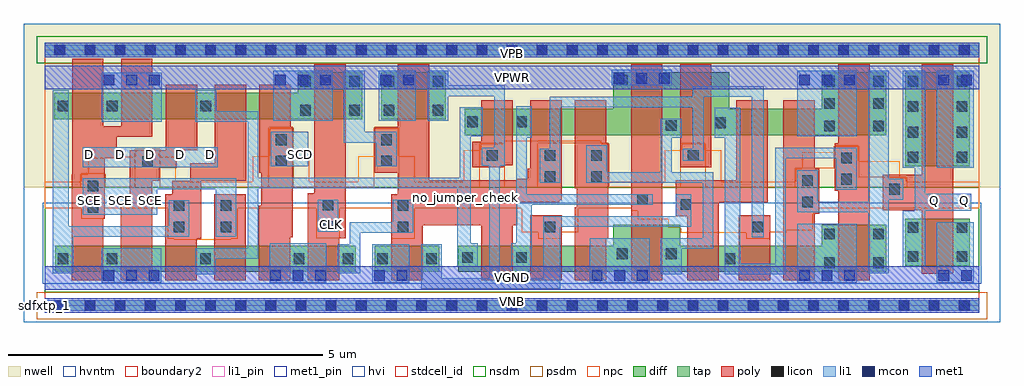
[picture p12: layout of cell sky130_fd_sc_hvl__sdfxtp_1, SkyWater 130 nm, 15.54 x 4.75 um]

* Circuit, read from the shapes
.subckt sky130_fd_sc_hvl__sdfxtp_1 CLK D Q SCD SCE VGND VNB VPB VPWR
XM1 VGND SCE n1 VNB sky130_fd_pr__nfet_g5v0d10v5 w=0.42 l=0.5
XM2 n2 D VGND VNB sky130_fd_pr__nfet_g5v0d10v5 w=0.42 l=0.5
XM3 n3 n1 n2 VNB sky130_fd_pr__nfet_g5v0d10v5 w=0.42 l=0.5
XM4 n4 SCE n3 VNB sky130_fd_pr__nfet_g5v0d10v5 w=0.42 l=0.5
XM5 VGND SCD n4 VNB sky130_fd_pr__nfet_g5v0d10v5 w=0.42 l=0.5
XM6 n5 CLK VGND VNB sky130_fd_pr__nfet_g5v0d10v5 w=0.42 l=0.5
XM7 n6 n5 VGND VNB sky130_fd_pr__nfet_g5v0d10v5 w=0.42 l=0.5
XM8 n7 n5 n3 VNB sky130_fd_pr__nfet_g5v0d10v5 w=0.42 l=0.5
XM9 n8 n6 n7 VNB sky130_fd_pr__nfet_g5v0d10v5 w=0.42 l=0.5
XM10 VGND n9 n8 VNB sky130_fd_pr__nfet_g5v0d10v5 w=0.42 l=0.5
XM11 n9 n7 VGND VNB sky130_fd_pr__nfet_g5v0d10v5 w=0.75 l=0.5
XM12 n10 n6 n9 VNB sky130_fd_pr__nfet_g5v0d10v5 w=0.42 l=0.5
XM13 n11 n5 n10 VNB sky130_fd_pr__nfet_g5v0d10v5 w=0.42 l=0.5
XM14 VGND n12 n11 VNB sky130_fd_pr__nfet_g5v0d10v5 w=0.42 l=0.5
XM15 n12 n10 VGND VNB sky130_fd_pr__nfet_g5v0d10v5 w=0.75 l=0.5
XM16 VGND n12 Q VNB sky130_fd_pr__nfet_g5v0d10v5 w=0.75 l=0.5
XM17 VPWR SCE n1 VPB sky130_fd_pr__pfet_g5v0d10v5 w=0.42 l=0.5
XM18 n13 SCE VPWR VPB sky130_fd_pr__pfet_g5v0d10v5 w=0.42 l=0.5
XM19 n3 D n13 VPB sky130_fd_pr__pfet_g5v0d10v5 w=0.42 l=0.5
XM20 n14 n1 n3 VPB sky130_fd_pr__pfet_g5v0d10v5 w=0.42 l=0.5
XM21 VPWR SCD n14 VPB sky130_fd_pr__pfet_g5v0d10v5 w=0.42 l=0.5
XM22 n5 CLK VPWR VPB sky130_fd_pr__pfet_g5v0d10v5 w=0.75 l=0.5
XM23 n6 n5 VPWR VPB sky130_fd_pr__pfet_g5v0d10v5 w=0.75 l=0.5
XM24 n7 n6 n3 VPB sky130_fd_pr__pfet_g5v0d10v5 w=0.42 l=0.5
XM25 n15 n5 n7 VPB sky130_fd_pr__pfet_g5v0d10v5 w=0.42 l=0.5
XM26 VPWR n9 n15 VPB sky130_fd_pr__pfet_g5v0d10v5 w=0.42 l=0.5
XM27 n9 n7 VPWR VPB sky130_fd_pr__pfet_g5v0d10v5 w=1 l=0.5
XM28 n10 n5 n9 VPB sky130_fd_pr__pfet_g5v0d10v5 w=1 l=0.5
XM29 n16 n6 n10 VPB sky130_fd_pr__pfet_g5v0d10v5 w=0.42 l=0.5
XM30 VPWR n12 n16 VPB sky130_fd_pr__pfet_g5v0d10v5 w=0.42 l=0.5
XM31 n12 n10 VPWR VPB sky130_fd_pr__pfet_g5v0d10v5 w=1 l=0.5
XM32 VPWR n12 Q VPB sky130_fd_pr__pfet_g5v0d10v5 w=1.5 l=0.5
.ends

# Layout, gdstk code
import gdstk
lib = gdstk.Library(unit=1e-6, precision=1e-09)
def R(c, l, rs):  # rectangles x0, y0, x1, y1
    for r in rs: c.add(gdstk.rectangle(r[:2], r[2:], *l))
def A(c, l, x, y, w, h, nx, ny, dx, dy):  # array of equal rectangles
    R(c, l, [(x+i*dx, y+j*dy, x+i*dx+w, y+j*dy+h) for i in range(nx) for j in range(ny)])
def P(c, l, *ps):  # polygons
    for p in ps: c.add(gdstk.Polygon(p, *l))
nwell = (64, 20)
diff = (65, 20)
tap = (65, 44)
poly = (66, 20)
licon = (66, 44)
li1_pin = (67, 16)
li1 = (67, 20)
mcon = (67, 44)
met1_pin = (68, 16)
met1 = (68, 20)
hvi = (75, 20)
stdcell_id = (81, 4)
nsdm = (93, 44)
psdm = (94, 20)
npc = (95, 20)
hvntm = (125, 20)
boundary2 = (236, 0)

sky130_fd_sc_hvl__sdfxtp = lib.new_cell('sky130_fd_sc_hvl__sdfxtp_1')
R(sky130_fd_sc_hvl__sdfxtp, nwell, [(-0.33,1.885,15.21,4.485)])
R(sky130_fd_sc_hvl__sdfxtp, diff, [(0.165,0.535,4.955,0.955), (5.255,0.535,6.285,0.955), (13.7,0.635,14.73,1.385), (13.7,2.215,14.73,3.715), (5.355,2.965,6.385,3.715)])
P(sky130_fd_sc_hvl__sdfxtp, diff, [(5.055,3.715),(4.025,3.715),(4.025,3.385),(0.15,3.385),(0.15,2.965),(5.055,2.965)],
  [(13.4,3.715),(12.37,3.715),(12.37,3.135),(10.9,3.135),(10.9,3.715),(9.05,3.715),(9.05,3.135),(6.685,3.135),(6.685,2.715),(13.4,2.715)],
  [(13.4,1.285),(12.37,1.285),(12.37,0.955),(10.12,0.955),(10.12,1.285),(9.05,1.285),(9.05,0.955),(6.585,0.955),(6.585,0.535),(13.4,0.535)])
R(sky130_fd_sc_hvl__sdfxtp, tap, [(0,-0.085,14.88,0.085), (0,3.985,14.88,4.155)])
R(sky130_fd_sc_hvl__sdfxtp, poly, [(2.7,0.405,3.2,1.775), (7.73,0.405,8.23,1.435), (9.335,0.405,9.835,3.845), (11.05,0.405,11.55,1.435), (10.115,2.205,10.615,3.845)])
P(sky130_fd_sc_hvl__sdfxtp, poly, [(1.715,3.93),(1.215,3.93),(1.215,2.855),(0.935,2.855),(0.935,3.93),(0.435,3.93),(0.435,2.09),(0.43,2.09),(0.43,0.405),(0.93,0.405),(0.93,1.38),(0.955,1.38),(0.955,2.355),(1.145,2.355),(1.145,2.685),(1.715,2.685)],
  [(2.425,3.515),(1.925,3.515),(1.925,2.475),(1.355,2.475),(1.355,1.585),(1.21,1.585),(1.21,0.405),(1.71,0.405),(1.71,1.985),(1.82,1.985),(1.82,2.195),(2.105,2.195),(2.105,2.475),(2.425,2.475)],
  [(3.205,3.515),(2.705,3.515),(2.705,2.265),(2.315,2.265),(2.315,1.985),(2.03,1.985),(2.03,1.775),(1.92,1.775),(1.92,0.405),(2.42,0.405),(2.42,1.065),(2.49,1.065),(2.49,1.985),(3.205,1.985)],
  [(3.95,2.835),(3.915,2.835),(3.915,3.515),(3.415,3.515),(3.415,2.115),(3.45,2.115),(3.45,1.585),(3.41,1.585),(3.41,0.405),(3.91,0.405),(3.91,1.085),(3.95,1.085)],
  [(4.79,3.845),(4.29,3.845),(4.29,1.785),(4.19,1.785),(4.19,0.405),(4.69,0.405),(4.69,1.075),(4.79,1.075)],
  [(7.45,3.265),(6.95,3.265),(6.95,2.605),(6.81,2.605),(6.81,2.205),(7.31,2.205),(7.31,2.23),(7.45,2.23)],
  [(8.23,3.265),(7.73,3.265),(7.73,2.175),(7.69,2.175),(7.69,2.02),(7.52,2.02),(7.52,1.995),(6.12,1.995),(6.12,3.845),(5.62,3.845),(5.62,2.835),(5.255,2.835),(5.255,2.115),(5.62,2.115),(5.62,1.775),(5.52,1.775),(5.52,0.405),(6.02,0.405),(6.02,1.275),(6.95,1.275),(6.95,0.405),(7.45,0.405),(7.45,1.275),(7.52,1.275),(7.52,1.645),(8.19,1.645),(8.19,1.675),(8.23,1.675)],
  [(8.97,2.585),(8.94,2.585),(8.94,3.265),(8.44,3.265),(8.44,1.865),(8.47,1.865),(8.47,1.565),(8.44,1.565),(8.44,0.405),(8.94,0.405),(8.94,1.065),(8.97,1.065)],
  [(11.51,3.265),(11.01,3.265),(11.01,1.995),(10.045,1.995),(10.045,1.425),(10.23,1.425),(10.23,0.405),(10.73,0.405),(10.73,1.645),(11.51,1.645)],
  [(12.33,2.175),(12.26,2.175),(12.26,3.265),(11.76,3.265),(11.76,0.405),(12.26,0.405),(12.26,1.465),(12.33,1.465)],
  [(13.135,3.845),(12.635,3.845),(12.635,2.585),(12.58,2.585),(12.58,1.825),(12.635,1.825),(12.635,0.405),(13.135,0.405)],
  [(14.465,3.845),(13.965,3.845),(13.965,2.085),(13.345,2.085),(13.345,1.515),(13.965,1.515),(13.965,0.505),(14.465,0.505)])
A(sky130_fd_sc_hvl__sdfxtp, licon, 0.155, -0.085, 0.17, 0.17, 31, 2, 0.48, 4.07)
A(sky130_fd_sc_hvl__sdfxtp, licon, 0.985, 0.66, 0.17, 0.17, 3, 1, 1.49, 0)
A(sky130_fd_sc_hvl__sdfxtp, licon, 12.41, 2.775, 0.17, 0.17, 1, 3, 0, 0.355)
A(sky130_fd_sc_hvl__sdfxtp, licon, 13.19, 2.775, 0.17, 0.17, 1, 3, 0, 0.355)
R(sky130_fd_sc_hvl__sdfxtp, licon, [(12.41,0.595,12.58,0.765), (13.19,0.595,13.36,0.765), (0.205,0.66,0.375,0.83), (4.745,0.66,4.915,0.83), (5.295,0.66,5.465,0.83), (6.075,0.66,6.245,0.83), (10.825,0.66,10.995,0.83), (6.645,0.68,6.815,0.85), (7.505,0.68,7.675,0.85), (13.74,0.695,13.91,0.865), (14.52,0.695,14.69,0.865), (9.11,0.74,9.28,0.91), (9.89,0.74,10.06,0.91), (12.41,1.055,12.58,1.225), (13.19,1.055,13.36,1.225), (13.74,1.155,13.91,1.325), (14.52,1.155,14.69,1.325), (2.055,1.165,2.225,1.335), (2.8,1.165,2.97,1.335), (5.62,1.165,5.79,1.335), (7.96,1.165,8.13,1.335), (11.27,1.165,11.44,1.335), (4.425,1.175,4.595,1.345), (0.685,1.48,0.855,1.65), (2.055,1.505,2.225,1.675), (2.8,1.505,2.97,1.675), (5.62,1.505,5.79,1.675), (4.425,1.515,4.595,1.685), (10.125,1.525,10.295,1.695), (12.06,1.565,12.23,1.735), (9.435,1.605,9.605,1.775), (13.445,1.765,13.615,1.935), (0.685,1.82,0.855,1.99), (12.06,1.905,12.23,2.075), (12.68,1.925,12.85,2.095), (7.96,1.965,8.13,2.135), (8.7,1.965,8.87,2.135), (1.55,2.205,1.72,2.375), (3.68,2.215,3.85,2.385), (5.355,2.215,5.525,2.385), (12.68,2.265,12.85,2.435), (13.74,2.275,13.91,2.445), (14.52,2.275,14.69,2.445), (7.04,2.305,7.21,2.475), (7.96,2.305,8.13,2.475), (8.7,2.305,8.87,2.475), (10.24,2.305,10.41,2.475), (3.68,2.555,3.85,2.725), (5.355,2.555,5.525,2.725), (13.74,2.675,13.91,2.845), (14.52,2.675,14.69,2.845), (9.89,2.78,10.06,2.95), (10.67,2.825,10.84,2.995), (6.725,2.84,6.895,3.01), (7.505,2.84,7.675,3.01), (4.065,3.025,4.235,3.195), (4.845,3.025,5.015,3.195), (5.395,3.025,5.565,3.195), (6.175,3.025,6.345,3.195), (13.74,3.085,13.91,3.255), (14.52,3.085,14.69,3.255), (0.21,3.09,0.38,3.26), (0.99,3.09,1.16,3.26), (2.48,3.09,2.65,3.26), (4.065,3.485,4.235,3.655), (4.845,3.485,5.015,3.655), (5.395,3.485,5.565,3.655), (6.175,3.485,6.345,3.655), (13.74,3.485,13.91,3.655), (14.52,3.485,14.69,3.655), (9.11,3.505,9.28,3.675)])
A(sky130_fd_sc_hvl__sdfxtp, li1_pin, 0.635, 1.58, 0.17, 0.17, 3, 1, 0.48, 0)
A(sky130_fd_sc_hvl__sdfxtp, li1_pin, 0.635, 2.32, 0.17, 0.17, 5, 1, 0.48, 0)
R(sky130_fd_sc_hvl__sdfxtp, li1_pin, [(4.475,1.21,4.645,1.38), (14.075,1.58,14.245,1.75), (14.555,1.58,14.725,1.75), (3.995,2.32,4.165,2.49)])
R(sky130_fd_sc_hvl__sdfxtp, li1, [(0,-0.085,14.88,0.085), (0.905,0.365,1.855,0.915), (3.58,0.365,4.485,0.995), (5.215,0.365,5.805,0.975), (8.68,0.365,9.63,1.075), (11.98,0.365,12.93,1.305), (14.2,0.365,14.79,1.325), (4.345,1.175,4.675,1.685), (14.2,2.195,14.79,3.735), (0.605,2.205,2.755,2.52), (3.6,2.215,4.195,2.765), (11.98,2.695,12.93,3.735), (0.91,2.925,1.86,3.705), (3.635,2.945,4.585,3.735), (5.315,2.945,5.905,3.735), (9.03,3.505,9.98,3.755), (0,3.985,14.88,4.155)])
P(sky130_fd_sc_hvl__sdfxtp, li1, [(2.305,1.675),(1.975,1.675),(1.975,1.265),(0.38,1.265),(0.38,3.425),(0.125,3.425),(0.125,0.515),(0.455,0.515),(0.455,1.095),(2.305,1.095)],
  [(3.05,2.025),(0.605,2.025),(0.605,1.445),(1.795,1.445),(1.795,1.855),(2.72,1.855),(2.72,1.095),(3.05,1.095)],
  [(5.605,2.765),(5.095,2.765),(5.095,3.735),(4.765,3.735),(4.765,2.595),(5.275,2.595),(5.275,2.215),(5.605,2.215)],
  [(5.87,1.685),(5.54,1.685),(5.54,1.325),(4.855,1.325),(4.855,0.975),(4.665,0.975),(4.665,0.515),(5.025,0.515),(5.025,1.155),(5.87,1.155)],
  [(6.975,3.155),(6.61,3.155),(6.61,2.035),(3.4,2.035),(3.4,3.095),(2.73,3.095),(2.73,3.425),(2.4,3.425),(2.4,2.925),(3.23,2.925),(3.23,0.915),(2.395,0.915),(2.395,0.495),(2.725,0.495),(2.725,0.745),(3.4,0.745),(3.4,1.865),(6.565,1.865),(6.565,0.615),(6.895,0.615),(6.895,0.995),(6.78,0.995),(6.78,2.695),(6.975,2.695)],
  [(9.685,1.775),(7.675,1.775),(7.675,2.675),(7.755,2.675),(7.755,3.175),(7.505,3.175),(7.505,0.995),(7.425,0.995),(7.425,0.615),(7.755,0.615),(7.755,1.605),(9.685,1.605)],
  [(10.295,1.775),(10.045,1.775),(10.045,1.425),(7.935,1.425),(7.935,0.435),(7.245,0.435),(7.245,2.225),(7.325,2.225),(7.325,3.505),(6.425,3.505),(6.425,3.735),(6.095,3.735),(6.095,2.945),(6.425,2.945),(6.425,3.335),(7.155,3.335),(7.155,2.515),(6.96,2.515),(6.96,2.225),(7.075,2.225),(7.075,0.435),(6.325,0.435),(6.325,0.975),(5.995,0.975),(5.995,0.265),(8.21,0.265),(8.21,1.255),(10.295,1.255)],
  [(10.645,2.125),(9.98,2.125),(9.98,2.675),(10.14,2.675),(10.14,2.975),(9.81,2.975),(9.81,2.125),(8.95,2.125),(8.95,2.555),(8.62,2.555),(8.62,1.955),(10.475,1.955),(10.475,1.075),(9.81,1.075),(9.81,0.495),(10.14,0.495),(10.14,0.905),(10.645,0.905)],
  [(11.45,3.495),(10.32,3.495),(10.32,3.325),(8.04,3.325),(8.04,2.495),(7.88,2.495),(7.88,1.955),(8.21,1.955),(8.21,3.155),(10.32,3.155),(10.32,2.495),(10.16,2.495),(10.16,2.305),(10.49,2.305),(10.49,3.325),(11.255,3.325),(11.255,1.085),(11.45,1.085)],
  [(12.93,2.515),(11.63,2.515),(11.63,0.665),(11.075,0.665),(11.075,3.145),(10.67,3.145),(10.67,2.675),(10.825,2.675),(10.825,0.495),(11.8,0.495),(11.8,2.345),(12.6,2.345),(12.6,1.845),(12.93,1.845)],
  [(13.67,2.015),(13.44,2.015),(13.44,3.735),(13.11,3.735),(13.11,1.655),(12.31,1.655),(12.31,2.155),(11.98,2.155),(11.98,1.485),(13.11,1.485),(13.11,0.515),(13.44,0.515),(13.44,1.685),(13.67,1.685)],
  [(14.755,1.78),(14.02,1.78),(14.02,3.735),(13.66,3.735),(13.66,2.195),(13.85,2.195),(13.85,1.505),(13.66,1.505),(13.66,0.615),(14.02,0.615),(14.02,1.505),(14.755,1.505)])
A(sky130_fd_sc_hvl__sdfxtp, mcon, 0.935, 0.395, 0.17, 0.17, 3, 1, 0.36, 0)
A(sky130_fd_sc_hvl__sdfxtp, mcon, 3.59, 0.395, 0.17, 0.17, 3, 1, 0.36, 0)
A(sky130_fd_sc_hvl__sdfxtp, mcon, 8.71, 0.395, 0.17, 0.17, 3, 1, 0.36, 0)
A(sky130_fd_sc_hvl__sdfxtp, mcon, 12.01, 0.395, 0.17, 0.17, 3, 2, 0.36, 3.11)
A(sky130_fd_sc_hvl__sdfxtp, mcon, 0.94, 3.505, 0.17, 0.17, 3, 1, 0.36, 0)
A(sky130_fd_sc_hvl__sdfxtp, mcon, 3.665, 3.505, 0.17, 0.17, 3, 1, 0.36, 0)
A(sky130_fd_sc_hvl__sdfxtp, mcon, 9.06, 3.535, 0.17, 0.17, 3, 1, 0.36, 0)
R(sky130_fd_sc_hvl__sdfxtp, mcon, [(0.155,-0.085,0.325,0.085), (0.155,-0.085,0.325,0.085), (0.635,-0.085,0.805,0.085), (0.635,-0.085,0.805,0.085), (1.115,-0.085,1.285,0.085), (1.115,-0.085,1.285,0.085), (1.595,-0.085,1.765,0.085), (1.595,-0.085,1.765,0.085), (2.075,-0.085,2.245,0.085), (2.075,-0.085,2.245,0.085), (2.555,-0.085,2.725,0.085), (2.555,-0.085,2.725,0.085), (3.035,-0.085,3.205,0.085), (3.035,-0.085,3.205,0.085), (3.515,-0.085,3.685,0.085), (3.515,-0.085,3.685,0.085), (3.995,-0.085,4.165,0.085), (3.995,-0.085,4.165,0.085), (4.475,-0.085,4.645,0.085), (4.475,-0.085,4.645,0.085), (4.955,-0.085,5.125,0.085), (4.955,-0.085,5.125,0.085), (5.435,-0.085,5.605,0.085), (5.435,-0.085,5.605,0.085), (5.915,-0.085,6.085,0.085), (5.915,-0.085,6.085,0.085), (6.395,-0.085,6.565,0.085), (6.395,-0.085,6.565,0.085), (6.875,-0.085,7.045,0.085), (6.875,-0.085,7.045,0.085), (7.355,-0.085,7.525,0.085), (7.355,-0.085,7.525,0.085), (7.835,-0.085,8.005,0.085), (7.835,-0.085,8.005,0.085), (8.315,-0.085,8.485,0.085), (8.315,-0.085,8.485,0.085), (8.795,-0.085,8.965,0.085), (8.795,-0.085,8.965,0.085), (9.275,-0.085,9.445,0.085), (9.275,-0.085,9.445,0.085), (9.755,-0.085,9.925,0.085), (9.755,-0.085,9.925,0.085), (10.235,-0.085,10.405,0.085), (10.235,-0.085,10.405,0.085), (10.715,-0.085,10.885,0.085), (10.715,-0.085,10.885,0.085), (11.195,-0.085,11.365,0.085), (11.195,-0.085,11.365,0.085), (11.675,-0.085,11.845,0.085), (11.675,-0.085,11.845,0.085), (12.155,-0.085,12.325,0.085), (12.155,-0.085,12.325,0.085), (12.635,-0.085,12.805,0.085), (12.635,-0.085,12.805,0.085), (13.115,-0.085,13.285,0.085), (13.115,-0.085,13.285,0.085), (13.595,-0.085,13.765,0.085), (13.595,-0.085,13.765,0.085), (14.075,-0.085,14.245,0.085), (14.075,-0.085,14.245,0.085), (14.555,-0.085,14.725,0.085), (14.555,-0.085,14.725,0.085), (5.245,0.395,5.415,0.565), (5.605,0.395,5.775,0.565), (14.23,0.395,14.4,0.565), (14.59,0.395,14.76,0.565), (5.345,3.505,5.515,3.675), (5.705,3.505,5.875,3.675), (14.23,3.505,14.4,3.675), (14.59,3.505,14.76,3.675), (0.155,3.985,0.325,4.155), (0.155,3.985,0.325,4.155), (0.635,3.985,0.805,4.155), (0.635,3.985,0.805,4.155), (1.115,3.985,1.285,4.155), (1.115,3.985,1.285,4.155), (1.595,3.985,1.765,4.155), (1.595,3.985,1.765,4.155), (2.075,3.985,2.245,4.155), (2.075,3.985,2.245,4.155), (2.555,3.985,2.725,4.155), (2.555,3.985,2.725,4.155), (3.035,3.985,3.205,4.155), (3.035,3.985,3.205,4.155), (3.515,3.985,3.685,4.155), (3.515,3.985,3.685,4.155), (3.995,3.985,4.165,4.155), (3.995,3.985,4.165,4.155), (4.475,3.985,4.645,4.155), (4.475,3.985,4.645,4.155), (4.955,3.985,5.125,4.155), (4.955,3.985,5.125,4.155), (5.435,3.985,5.605,4.155), (5.435,3.985,5.605,4.155), (5.915,3.985,6.085,4.155), (5.915,3.985,6.085,4.155), (6.395,3.985,6.565,4.155), (6.395,3.985,6.565,4.155), (6.875,3.985,7.045,4.155), (6.875,3.985,7.045,4.155), (7.355,3.985,7.525,4.155), (7.355,3.985,7.525,4.155), (7.835,3.985,8.005,4.155), (7.835,3.985,8.005,4.155), (8.315,3.985,8.485,4.155), (8.315,3.985,8.485,4.155), (8.795,3.985,8.965,4.155), (8.795,3.985,8.965,4.155), (9.275,3.985,9.445,4.155), (9.275,3.985,9.445,4.155), (9.755,3.985,9.925,4.155), (9.755,3.985,9.925,4.155), (10.235,3.985,10.405,4.155), (10.235,3.985,10.405,4.155), (10.715,3.985,10.885,4.155), (10.715,3.985,10.885,4.155), (11.195,3.985,11.365,4.155), (11.195,3.985,11.365,4.155), (11.675,3.985,11.845,4.155), (11.675,3.985,11.845,4.155), (12.155,3.985,12.325,4.155), (12.155,3.985,12.325,4.155), (12.635,3.985,12.805,4.155), (12.635,3.985,12.805,4.155), (13.115,3.985,13.285,4.155), (13.115,3.985,13.285,4.155), (13.595,3.985,13.765,4.155), (13.595,3.985,13.765,4.155), (14.075,3.985,14.245,4.155), (14.075,3.985,14.245,4.155), (14.555,3.985,14.725,4.155), (14.555,3.985,14.725,4.155)])
R(sky130_fd_sc_hvl__sdfxtp, met1_pin, [(0,0,14.88,0.115), (0,0.255,14.88,0.625), (0,3.445,14.88,3.815), (0,3.955,14.88,4.07)])
R(sky130_fd_sc_hvl__sdfxtp, met1, [(0,-0.115,14.88,0.115), (0,0.255,14.88,0.625), (0,3.445,14.88,3.815), (0,3.955,14.88,4.185)])
R(sky130_fd_sc_hvl__sdfxtp, hvi, [(-0.33,-0.265,15.21,4.485)])
R(sky130_fd_sc_hvl__sdfxtp, stdcell_id, [(0,0,14.88,4.07)])
R(sky130_fd_sc_hvl__sdfxtp, nsdm, [(0,0.215,14.88,1.885), (-0.13,3.855,15.01,4.285), (0,3.855,14.88,4.07)])
R(sky130_fd_sc_hvl__sdfxtp, psdm, [(-0.13,-0.215,15.01,0.215)])
P(sky130_fd_sc_hvl__sdfxtp, psdm, [(14.88,3.855),(0,3.855),(0,1.885),(0.575,1.885),(0.575,2.1),(0.965,2.1),(0.965,1.885),(1.44,1.885),(1.44,2.485),(1.83,2.485),(1.83,1.885),(3.57,1.885),(3.57,2.835),(3.96,2.835),(3.96,1.885),(5.245,1.885),(5.245,2.835),(5.635,2.835),(5.635,1.885),(6.93,1.885),(6.93,2.585),(7.32,2.585),(7.32,1.885),(7.85,1.885),(7.85,2.585),(8.98,2.585),(8.98,1.885),(10.13,1.885),(10.13,2.585),(10.52,2.585),(10.52,1.885),(11.95,1.885),(11.95,2.185),(12.57,2.185),(12.57,2.545),(12.96,2.545),(12.96,2.045),(13.725,2.045),(13.725,1.885),(14.88,1.885)])
P(sky130_fd_sc_hvl__sdfxtp, npc, [(14.88,1.97),(13.715,1.97),(13.715,2.035),(13.61,2.035),(13.61,2.3),(12.95,2.3),(12.95,2.535),(12.58,2.535),(12.58,2.44),(12.065,2.44),(12.065,2.175),(11.96,2.175),(11.96,1.97),(10.775,1.97),(10.775,2.47),(10.51,2.47),(10.51,2.575),(10.14,2.575),(10.14,2.47),(9.875,2.47),(9.875,1.97),(8.97,1.97),(8.97,2.575),(8.865,2.575),(8.865,2.625),(7.31,2.625),(7.31,2.575),(6.94,2.575),(6.94,2.47),(6.675,2.47),(6.675,1.97),(5.89,1.97),(5.89,2.38),(5.625,2.38),(5.625,2.825),(5.255,2.825),(5.255,2.38),(4.99,2.38),(4.99,1.97),(4.215,1.97),(4.215,2.38),(3.95,2.38),(3.95,2.825),(3.58,2.825),(3.58,2.38),(3.315,2.38),(3.315,1.97),(2.085,1.97),(2.085,2.37),(1.82,2.37),(1.82,2.475),(1.45,2.475),(1.45,2.37),(1.185,2.37),(1.185,2.355),(0.69,2.355),(0.69,2.09),(0.585,2.09),(0.585,1.97),(0,1.97),(0,1.545),(0.585,1.545),(0.585,1.38),(0.955,1.38),(0.955,1.545),(1.955,1.545),(1.955,1.065),(2.06,1.065),(2.06,1.045),(2.965,1.045),(2.965,1.065),(3.07,1.065),(3.07,1.545),(4.325,1.545),(4.325,1.075),(4.695,1.075),(4.695,1.545),(5.52,1.545),(5.52,1.065),(5.89,1.065),(5.89,1.545),(7.595,1.545),(7.595,1.17),(7.86,1.17),(7.86,1.065),(8.23,1.065),(8.23,1.17),(8.495,1.17),(8.495,1.545),(9.335,1.545),(9.335,1.505),(9.44,1.505),(9.44,1.375),(9.925,1.375),(9.925,1.24),(10.13,1.24),(10.13,1.16),(11.17,1.16),(11.17,1.065),(11.54,1.065),(11.54,1.17),(11.805,1.17),(11.805,1.2),(12.225,1.2),(12.225,1.465),(12.33,1.465),(12.33,1.545),(14.88,1.545)])
R(sky130_fd_sc_hvl__sdfxtp, hvntm, [(-0.035,0.35,14.915,1.64)])
R(sky130_fd_sc_hvl__sdfxtp, boundary2, [(0,0,14.88,4.07)])
sky130_fd_sc_hvl__sdfxtp.add(gdstk.Label('no_jumper_check', (6.7,1.72), layer=83, texttype=44))
sky130_fd_sc_hvl__sdfxtp.add(gdstk.Label('sdfxtp_1', (0,0), layer=83, texttype=44))
sky130_fd_sc_hvl__sdfxtp.add(gdstk.Label('VGND', (7.44,0.44), layer=68, texttype=5))
sky130_fd_sc_hvl__sdfxtp.add(gdstk.Label('VNB', (7.44,0.058), layer=68, texttype=5))
sky130_fd_sc_hvl__sdfxtp.add(gdstk.Label('VPWR', (7.44,3.63), layer=68, texttype=5))
sky130_fd_sc_hvl__sdfxtp.add(gdstk.Label('VPB', (7.44,4.013), layer=68, texttype=5))
sky130_fd_sc_hvl__sdfxtp.add(gdstk.Label('D', (2.64,2.405), layer=67, texttype=5))
sky130_fd_sc_hvl__sdfxtp.add(gdstk.Label('D', (2.16,2.405), layer=67, texttype=5))
sky130_fd_sc_hvl__sdfxtp.add(gdstk.Label('D', (1.68,2.405), layer=67, texttype=5))
sky130_fd_sc_hvl__sdfxtp.add(gdstk.Label('D', (1.2,2.405), layer=67, texttype=5))
sky130_fd_sc_hvl__sdfxtp.add(gdstk.Label('D', (0.72,2.405), layer=67, texttype=5))
sky130_fd_sc_hvl__sdfxtp.add(gdstk.Label('SCD', (4.08,2.405), layer=67, texttype=5))
sky130_fd_sc_hvl__sdfxtp.add(gdstk.Label('SCE', (1.68,1.665), layer=67, texttype=5))
sky130_fd_sc_hvl__sdfxtp.add(gdstk.Label('SCE', (1.2,1.665), layer=67, texttype=5))
sky130_fd_sc_hvl__sdfxtp.add(gdstk.Label('SCE', (0.72,1.665), layer=67, texttype=5))
sky130_fd_sc_hvl__sdfxtp.add(gdstk.Label('CLK', (4.56,1.295), layer=67, texttype=5))
sky130_fd_sc_hvl__sdfxtp.add(gdstk.Label('Q', (14.64,1.665), layer=67, texttype=5))
sky130_fd_sc_hvl__sdfxtp.add(gdstk.Label('Q', (14.16,1.665), layer=67, texttype=5))

lib.write_gds('sky130_fd_sc_hvl__sdfxtp_1.gds')
